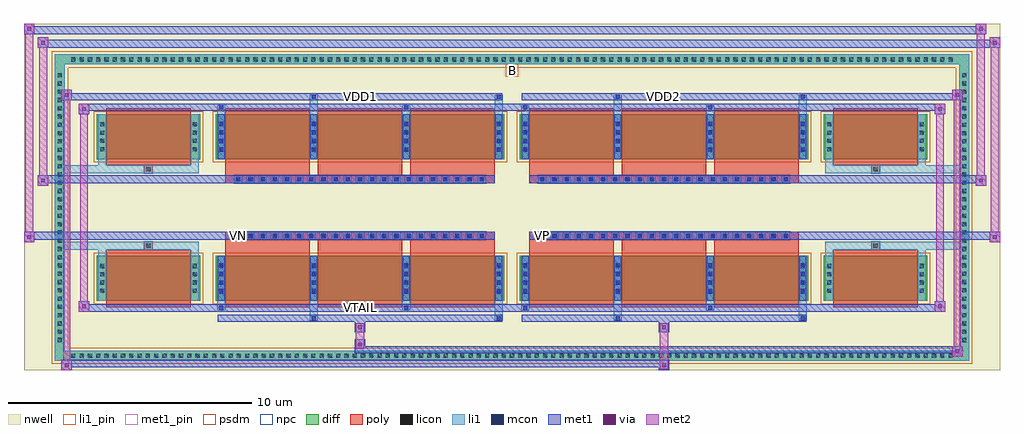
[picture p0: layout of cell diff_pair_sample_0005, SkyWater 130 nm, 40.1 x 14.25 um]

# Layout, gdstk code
import gdstk
lib = gdstk.Library(unit=1e-6, precision=5e-09)
def R(c, l, rs):  # rectangles x0, y0, x1, y1
    for r in rs: c.add(gdstk.rectangle(r[:2], r[2:], *l))
def A(c, l, x, y, w, h, nx, ny, dx, dy):  # array of equal rectangles
    R(c, l, [(x+i*dx, y+j*dy, x+i*dx+w, y+j*dy+h) for i in range(nx) for j in range(ny)])
def P(c, l, *ps):  # polygons
    for p in ps: c.add(gdstk.Polygon(p, *l))
nwell = (64, 20)
diff = (65, 20)
poly = (66, 20)
licon = (66, 44)
li1_pin = (67, 16)
li1 = (67, 20)
mcon = (67, 44)
met1_pin = (68, 16)
met1 = (68, 20)
via = (68, 44)
met2 = (69, 20)
psdm = (94, 20)
npc = (95, 20)

diff_pair_sample_0005 = lib.new_cell('diff_pair_sample_0005')
R(diff_pair_sample_0005, nwell, [(-20.05,-6.69,20.05,7.56), (-17.37,-4.88,-0.01,-0.8), (0.01,-4.88,17.37,-0.8), (-17.37,0.8,-0.01,4.88), (0.01,0.8,17.37,4.88)])
A(diff_pair_sample_0005, diff, -18.225, -6.29, 0.41, 0.41, 107, 2, 0.34, 12.17)
A(diff_pair_sample_0005, diff, -18.78, -5.645, 0.41, 0.41, 1, 33, 0, 0.34)
A(diff_pair_sample_0005, diff, 18.37, -5.645, 0.41, 0.41, 1, 33, 0, 0.34)
R(diff_pair_sample_0005, diff, [(-18.225,-6.29,18.225,-5.88), (-18.78,-5.645,-18.37,5.645), (18.37,-5.645,18.78,5.645), (-17.06,-3.835,-12.81,-1.985), (-12.17,-3.835,-0.32,-1.985), (0.32,-3.835,12.17,-1.985), (12.81,-3.835,17.06,-1.985), (-17.06,1.985,-12.81,3.835), (-12.17,1.985,-0.32,3.835), (0.32,1.985,12.17,3.835), (12.81,1.985,17.06,3.835), (-18.225,5.88,18.225,6.29)])
P(diff_pair_sample_0005, diff, [(18.78,6.29),(-18.78,6.29),(-18.78,-5.88),(-18.37,-5.88),(-18.37,5.88),(18.37,5.88),(18.37,-5.88),(-18.37,-5.88),(-18.78,-5.88),(-18.78,-6.29),(18.78,-6.29)])
A(diff_pair_sample_0005, poly, -11.78, -4.085, 3.47, 2.35, 3, 2, 3.8, 5.82)
A(diff_pair_sample_0005, poly, 0.71, -4.085, 3.47, 2.35, 3, 2, 3.8, 5.82)
A(diff_pair_sample_0005, poly, -11.78, -1.735, 3.47, 0.405, 3, 2, 3.8, 3.065)
A(diff_pair_sample_0005, poly, 0.71, -1.735, 3.47, 0.405, 3, 2, 3.8, 3.065)
A(diff_pair_sample_0005, poly, -11.41, -1.33, 0.33, 0.33, 21, 2, 0.5, 2.33)
A(diff_pair_sample_0005, poly, 1.08, -1.33, 0.33, 0.33, 21, 2, 0.5, 2.33)
R(diff_pair_sample_0005, poly, [(-16.67,-4.085,-13.2,-1.735), (13.2,-4.085,16.67,-1.735), (-15.1,-1.735,-14.77,-1.405), (-15.1,-1.735,-14.77,-1.405), (14.77,-1.735,15.1,-1.405), (14.77,-1.735,15.1,-1.405), (-11.78,-1.33,-0.71,-1), (0.71,-1.33,11.78,-1), (-11.78,1,-0.71,1.33), (0.71,1,11.78,1.33), (-15.1,1.405,-14.77,1.735), (-15.1,1.405,-14.77,1.735), (14.77,1.405,15.1,1.735), (14.77,1.405,15.1,1.735), (-16.67,1.735,-13.2,4.085), (13.2,1.735,16.67,4.085)])
A(diff_pair_sample_0005, licon, -18.105, -6.17, 0.17, 0.17, 107, 2, 0.34, 12.17)
A(diff_pair_sample_0005, licon, -18.66, -5.525, 0.17, 0.17, 1, 33, 0, 0.34)
A(diff_pair_sample_0005, licon, 18.49, -5.525, 0.17, 0.17, 1, 33, 0, 0.34)
A(diff_pair_sample_0005, licon, -16.92, -3.505, 0.17, 0.17, 1, 4, 0, 0.34)
A(diff_pair_sample_0005, licon, -13.12, -3.505, 0.17, 0.17, 1, 4, 0, 0.34)
A(diff_pair_sample_0005, licon, -12.03, -3.505, 0.17, 0.17, 4, 4, 3.8, 0.34)
A(diff_pair_sample_0005, licon, 0.46, -3.505, 0.17, 0.17, 4, 4, 3.8, 0.34)
A(diff_pair_sample_0005, licon, 12.95, -3.505, 0.17, 0.17, 1, 4, 0, 0.34)
A(diff_pair_sample_0005, licon, 16.75, -3.505, 0.17, 0.17, 1, 4, 0, 0.34)
A(diff_pair_sample_0005, licon, -11.33, -1.25, 0.17, 0.17, 21, 2, 0.5, 2.33)
A(diff_pair_sample_0005, licon, 1.16, -1.25, 0.17, 0.17, 21, 2, 0.5, 2.33)
A(diff_pair_sample_0005, licon, -16.92, 2.315, 0.17, 0.17, 1, 4, 0, 0.34)
A(diff_pair_sample_0005, licon, -13.12, 2.315, 0.17, 0.17, 1, 4, 0, 0.34)
A(diff_pair_sample_0005, licon, -12.03, 2.315, 0.17, 0.17, 4, 4, 3.8, 0.34)
A(diff_pair_sample_0005, licon, 0.46, 2.315, 0.17, 0.17, 4, 4, 3.8, 0.34)
A(diff_pair_sample_0005, licon, 12.95, 2.315, 0.17, 0.17, 1, 4, 0, 0.34)
A(diff_pair_sample_0005, licon, 16.75, 2.315, 0.17, 0.17, 1, 4, 0, 0.34)
R(diff_pair_sample_0005, licon, [(-15.02,-1.655,-14.85,-1.485), (14.85,-1.655,15.02,-1.485), (-15.02,1.485,-14.85,1.655), (14.85,1.485,15.02,1.655)])
R(diff_pair_sample_0005, li1_pin, [(-0.25,5.38,0.25,5.88)])
A(diff_pair_sample_0005, li1, -18.185, -6.25, 0.33, 0.33, 107, 2, 0.34, 12.17)
A(diff_pair_sample_0005, li1, -18.74, -5.605, 0.33, 0.33, 1, 33, 0, 0.34)
A(diff_pair_sample_0005, li1, 18.41, -5.605, 0.33, 0.33, 1, 33, 0, 0.34)
A(diff_pair_sample_0005, li1, -12.11, -3.835, 0.33, 1.85, 4, 2, 3.8, 5.82)
A(diff_pair_sample_0005, li1, 0.38, -3.835, 0.33, 1.85, 4, 2, 3.8, 5.82)
A(diff_pair_sample_0005, li1, -17, -3.585, 0.33, 0.33, 1, 4, 0, 0.34)
A(diff_pair_sample_0005, li1, -13.2, -3.585, 0.33, 0.33, 1, 4, 0, 0.34)
A(diff_pair_sample_0005, li1, -12.11, -3.585, 0.33, 0.33, 4, 4, 3.8, 0.34)
A(diff_pair_sample_0005, li1, 0.38, -3.585, 0.33, 0.33, 4, 4, 3.8, 0.34)
A(diff_pair_sample_0005, li1, 12.87, -3.585, 0.33, 0.33, 1, 4, 0, 0.34)
A(diff_pair_sample_0005, li1, 16.67, -3.585, 0.33, 0.33, 1, 4, 0, 0.34)
A(diff_pair_sample_0005, li1, -12.03, -3.535, 0.17, 0.17, 4, 4, 3.8, 0.36)
A(diff_pair_sample_0005, li1, -12.03, -3.535, 0.17, 1.25, 4, 2, 3.8, 5.82)
A(diff_pair_sample_0005, li1, 0.46, -3.535, 0.17, 0.17, 4, 4, 3.8, 0.36)
A(diff_pair_sample_0005, li1, 0.46, -3.535, 0.17, 1.25, 4, 2, 3.8, 5.82)
A(diff_pair_sample_0005, li1, -11.41, -1.33, 0.33, 0.33, 21, 2, 0.5, 2.33)
A(diff_pair_sample_0005, li1, 1.08, -1.33, 0.33, 0.33, 21, 2, 0.5, 2.33)
A(diff_pair_sample_0005, li1, -17, 2.235, 0.33, 0.33, 1, 4, 0, 0.34)
A(diff_pair_sample_0005, li1, -13.2, 2.235, 0.33, 0.33, 1, 4, 0, 0.34)
A(diff_pair_sample_0005, li1, -12.11, 2.235, 0.33, 0.33, 4, 4, 3.8, 0.34)
A(diff_pair_sample_0005, li1, 0.38, 2.235, 0.33, 0.33, 4, 4, 3.8, 0.34)
A(diff_pair_sample_0005, li1, 12.87, 2.235, 0.33, 0.33, 1, 4, 0, 0.34)
A(diff_pair_sample_0005, li1, 16.67, 2.235, 0.33, 0.33, 1, 4, 0, 0.34)
A(diff_pair_sample_0005, li1, -12.03, 2.285, 0.17, 0.17, 4, 4, 3.8, 0.36)
A(diff_pair_sample_0005, li1, 0.46, 2.285, 0.17, 0.17, 4, 4, 3.8, 0.36)
R(diff_pair_sample_0005, li1, [(-18.78,-6.29,-18.37,-5.88), (-18.78,-6.29,-18.37,-5.88), (-18.37,-6.29,18.37,-5.88), (18.37,-6.29,18.78,-5.88), (18.37,-6.29,18.78,-5.88), (-18.78,-5.88,-18.37,5.88), (18.37,-5.88,18.78,5.88), (-8.31,-4.64,-7.98,-3.835), (-8.23,-4.64,-8.06,-4.47), (-0.71,-4.64,-0.38,-3.835), (-0.63,-4.64,-0.46,-4.47), (4.18,-4.64,4.51,-3.835), (4.26,-4.64,4.43,-4.47), (11.78,-4.64,12.11,-3.835), (11.86,-4.64,12.03,-4.47), (-12.11,-4.21,-11.78,-3.835), (-12.03,-4.21,-11.86,-4.04), (-4.51,-4.21,-4.18,-3.835), (-4.43,-4.21,-4.26,-4.04), (0.38,-4.21,0.71,-3.835), (0.46,-4.21,0.63,-4.04), (7.98,-4.21,8.31,-3.835), (8.06,-4.21,8.23,-4.04), (-17,-3.835,-16.67,-1.985), (-13.2,-3.835,-12.87,-1.985), (12.87,-3.835,13.2,-1.985), (16.67,-3.835,17,-1.985), (-17,-1.985,-16.67,-1.405), (-13.2,-1.985,-12.87,-1.405), (12.87,-1.985,13.2,-1.405), (16.67,-1.985,17,-1.405), (-18.78,-1.735,-15.1,-1.405), (-17,-1.735,-15.1,-1.405), (-15.1,-1.735,-14.77,-1.405), (-14.77,-1.735,-12.87,-1.405), (12.87,-1.735,14.77,-1.405), (14.77,-1.735,15.1,-1.405), (14.77,-1.735,18.78,-1.405), (15.1,-1.735,17,-1.405), (-18.78,1.405,-15.1,1.735), (-17,1.405,-15.1,1.735), (-17,1.405,-16.67,1.985), (-15.1,1.405,-14.77,1.735), (-14.77,1.405,-12.87,1.735), (-13.2,1.405,-12.87,1.985), (12.87,1.405,14.77,1.735), (12.87,1.405,13.2,1.985), (14.77,1.405,15.1,1.735), (14.77,1.405,18.78,1.735), (15.1,1.405,17,1.735), (16.67,1.405,17,1.985), (-17,1.985,-16.67,3.835), (-13.2,1.985,-12.87,3.835), (12.87,1.985,13.2,3.835), (16.67,1.985,17,3.835), (-12.11,3.835,-11.78,4.21), (-8.31,3.835,-7.98,4.64), (-4.51,3.835,-4.18,4.21), (-0.71,3.835,-0.38,4.64), (0.38,3.835,0.71,4.21), (4.18,3.835,4.51,4.64), (7.98,3.835,8.31,4.21), (11.78,3.835,12.11,4.64), (-12.03,4.04,-11.86,4.21), (-4.43,4.04,-4.26,4.21), (0.46,4.04,0.63,4.21), (8.06,4.04,8.23,4.21), (-8.23,4.47,-8.06,4.64), (-0.63,4.47,-0.46,4.64), (4.26,4.47,4.43,4.64), (11.86,4.47,12.03,4.64), (-18.78,5.88,-18.37,6.29), (-18.78,5.88,-18.37,6.29), (-18.37,5.88,18.37,6.29), (18.37,5.88,18.78,6.29), (18.37,5.88,18.78,6.29)])
A(diff_pair_sample_0005, mcon, -12.03, -3.535, 0.17, 0.17, 4, 4, 3.8, 0.36)
A(diff_pair_sample_0005, mcon, 0.46, -3.535, 0.17, 0.17, 4, 4, 3.8, 0.36)
A(diff_pair_sample_0005, mcon, -11.33, -1.25, 0.17, 0.17, 21, 2, 0.5, 2.33)
A(diff_pair_sample_0005, mcon, 1.16, -1.25, 0.17, 0.17, 21, 2, 0.5, 2.33)
A(diff_pair_sample_0005, mcon, -12.03, 2.285, 0.17, 0.17, 4, 4, 3.8, 0.36)
A(diff_pair_sample_0005, mcon, 0.46, 2.285, 0.17, 0.17, 4, 4, 3.8, 0.36)
R(diff_pair_sample_0005, mcon, [(-8.23,-4.64,-8.06,-4.47), (-0.63,-4.64,-0.46,-4.47), (4.26,-4.64,4.43,-4.47), (11.86,-4.64,12.03,-4.47), (-12.03,-4.21,-11.86,-4.04), (-4.43,-4.21,-4.26,-4.04), (0.46,-4.21,0.63,-4.04), (8.06,-4.21,8.23,-4.04), (-12.03,4.04,-11.86,4.21), (-4.43,4.04,-4.26,4.21), (0.46,4.04,0.63,4.21), (8.06,4.04,8.23,4.21), (-8.23,4.47,-8.06,4.64), (-0.63,4.47,-0.46,4.64), (4.26,4.47,4.43,4.64), (11.86,4.47,12.03,4.64)])
R(diff_pair_sample_0005, met1_pin, [(-6.38,-4.25,-6.11,-3.98), (-11.38,-1.29,-11.11,-1.02), (1.11,-1.29,1.38,-1.02), (-6.38,4.43,-6.11,4.7), (6.11,4.43,6.38,4.7)])
A(diff_pair_sample_0005, met1, -12.09, -3.835, 0.29, 1.85, 4, 2, 3.8, 5.82)
A(diff_pair_sample_0005, met1, 0.4, -3.835, 0.29, 1.85, 4, 2, 3.8, 5.82)
A(diff_pair_sample_0005, met1, -12.09, -3.595, 0.29, 0.29, 4, 4, 3.8, 0.36)
A(diff_pair_sample_0005, met1, 0.4, -3.595, 0.29, 0.29, 4, 4, 3.8, 0.36)
A(diff_pair_sample_0005, met1, -11.39, -1.31, 0.29, 0.29, 21, 2, 0.5, 2.33)
A(diff_pair_sample_0005, met1, 1.1, -1.31, 0.29, 0.29, 21, 2, 0.5, 2.33)
A(diff_pair_sample_0005, met1, -12.09, 2.225, 0.29, 0.29, 4, 4, 3.8, 0.36)
A(diff_pair_sample_0005, met1, 0.4, 2.225, 0.29, 0.29, 4, 4, 3.8, 0.36)
R(diff_pair_sample_0005, met1, [(-18.51,-6.69,-18.08,-6.26), (6.03,-6.69,6.46,-6.26), (-18.51,-6.55,6.46,-6.26), (18.08,-6.12,18.51,-5.69), (-6.46,-5.98,18.51,-5.69), (-6.46,-5.84,-6.03,-5.41), (-6.46,-5.13,-6.03,-4.7), (6.03,-5.13,6.46,-4.7), (-12.09,-4.7,-0.4,-4.41), (-8.29,-4.7,-8,-4.41), (-0.69,-4.7,-0.4,-4.41), (0.4,-4.7,12.09,-4.41), (4.2,-4.7,4.49,-4.41), (11.8,-4.7,12.09,-4.41), (-17.8,-4.27,-17.37,-3.84), (-17.8,-4.27,-12.09,-3.98), (-12.09,-4.27,-11.8,-3.98), (-12.09,-4.27,-0.4,-3.98), (-4.49,-4.27,-4.2,-3.98), (-0.4,-4.27,0.4,-3.98), (0.4,-4.27,0.69,-3.98), (0.4,-4.27,12.09,-3.98), (8,-4.27,8.29,-3.98), (12.09,-4.27,17.8,-3.98), (17.37,-4.27,17.8,-3.84), (-20.05,-1.43,-19.62,-1), (19.62,-1.43,20.05,-1), (-20.05,-1.33,-0.71,-1), (-11.78,-1.33,-0.71,-1), (0.71,-1.33,11.78,-1), (0.71,-1.33,20.05,-1), (-19.48,0.9,-19.05,1.33), (19.05,0.9,19.48,1.33), (-19.48,1,-11.78,1.33), (-11.78,1,-0.71,1.33), (0.71,1,11.78,1.33), (11.78,1,19.48,1.33), (-17.8,3.84,-17.37,4.27), (17.37,3.84,17.8,4.27), (-17.8,3.98,-12.09,4.27), (-12.09,3.98,-11.8,4.27), (-12.09,3.98,-0.4,4.27), (-4.49,3.98,-4.2,4.27), (-0.4,3.98,0.4,4.27), (0.4,3.98,0.69,4.27), (0.4,3.98,12.09,4.27), (8,3.98,8.29,4.27), (12.09,3.98,17.8,4.27), (-18.51,4.41,-18.08,4.84), (-18.51,4.41,-12.09,4.7), (-12.09,4.41,-0.4,4.7), (-8.29,4.41,-8,4.7), (-0.69,4.41,-0.4,4.7), (0.4,4.41,12.09,4.7), (4.2,4.41,4.49,4.7), (11.8,4.41,12.09,4.7), (12.09,4.41,18.51,4.7), (18.08,4.41,18.51,4.84), (-19.48,6.56,-19.05,6.99), (-19.48,6.56,-17.37,6.89), (-17.37,6.56,17.37,6.89), (17.37,6.56,20.05,6.89), (19.62,6.56,20.05,6.99), (-20.05,7.13,-19.62,7.56), (-20.05,7.13,-17.37,7.46), (-17.37,7.13,17.37,7.46), (17.37,7.13,19.48,7.46), (19.05,7.13,19.48,7.56)])
R(diff_pair_sample_0005, via, [(-18.37,-6.55,-18.22,-6.4), (6.17,-6.55,6.32,-6.4), (18.22,-5.98,18.37,-5.83), (-6.32,-5.7,-6.17,-5.55), (-6.32,-4.99,-6.17,-4.84), (6.17,-4.99,6.32,-4.84), (-17.66,-4.13,-17.51,-3.98), (17.51,-4.13,17.66,-3.98), (-19.91,-1.29,-19.76,-1.14), (19.76,-1.29,19.91,-1.14), (-19.34,1.04,-19.19,1.19), (19.19,1.04,19.34,1.19), (-17.66,3.98,-17.51,4.13), (17.51,3.98,17.66,4.13), (-18.37,4.55,-18.22,4.7), (18.22,4.55,18.37,4.7), (-19.34,6.7,-19.19,6.85), (19.76,6.7,19.91,6.85), (-19.91,7.27,-19.76,7.42), (19.19,7.27,19.34,7.42)])
R(diff_pair_sample_0005, met2, [(-18.51,-6.69,-18.08,-6.26), (-18.44,-6.69,-18.15,4.84), (-18.15,-6.69,-18.08,-6.26), (-18.46,-6.64,-18.13,-6.31), (6.08,-6.64,6.41,-6.31), (6.08,-6.31,6.41,-5.08), (18.08,-6.12,18.51,-5.69), (18.15,-6.12,18.44,4.84), (18.44,-6.12,18.51,-5.69), (18.13,-6.07,18.46,-5.74), (-6.41,-5.79,-6.08,-5.46), (-6.41,-5.46,-6.08,-5.08), (-6.41,-5.08,-6.08,-4.75), (6.08,-5.08,6.41,-4.75), (-17.8,-4.27,-17.37,-3.84), (-17.73,-4.27,-17.44,4.27), (-17.44,-4.27,-17.37,-3.84), (17.37,-4.27,17.8,-3.84), (17.44,-4.27,17.73,4.27), (17.73,-4.27,17.8,-3.84), (-17.75,-4.22,-17.42,-3.89), (17.42,-4.22,17.75,-3.89), (-20.05,-1.43,-19.62,-1), (-20,-1.43,-19.67,7.56), (-19.67,-1.43,-19.62,-1), (19.62,-1.43,20.05,-1), (19.67,-1.43,20,6.99), (20,-1.43,20.05,-1), (-20,-1.38,-19.67,-1.05), (19.67,-1.38,20,-1.05), (-19.48,0.9,-19.05,1.33), (-19.43,0.9,-19.1,6.99), (-19.1,0.9,-19.05,1.33), (19.05,0.9,19.48,1.33), (19.1,0.9,19.43,7.56), (19.43,0.9,19.48,1.33), (-19.43,0.95,-19.1,1.28), (19.1,0.95,19.43,1.28), (-17.8,3.84,-17.37,4.27), (-17.44,3.84,-17.37,4.27), (17.37,3.84,17.8,4.27), (17.73,3.84,17.8,4.27), (-17.75,3.89,-17.42,4.22), (17.42,3.89,17.75,4.22), (-18.51,4.41,-18.08,4.84), (-18.15,4.41,-18.08,4.84), (18.08,4.41,18.51,4.84), (18.44,4.41,18.51,4.84), (-18.46,4.46,-18.13,4.79), (18.13,4.46,18.46,4.79), (-19.48,6.56,-19.05,6.99), (-19.1,6.56,-19.05,6.99), (19.62,6.56,20.05,6.99), (20,6.56,20.05,6.99), (-19.43,6.61,-19.1,6.94), (19.67,6.61,20,6.94), (-20.05,7.13,-19.62,7.56), (-19.67,7.13,-19.62,7.56), (19.05,7.13,19.48,7.56), (19.43,7.13,19.48,7.56), (-20,7.18,-19.67,7.51), (19.1,7.18,19.43,7.51)])
R(diff_pair_sample_0005, psdm, [(-17.19,-3.965,-12.68,-1.855), (-12.3,-3.965,-0.19,-1.855), (0.19,-3.965,12.3,-1.855), (12.68,-3.965,17.19,-1.855), (-17.19,1.855,-12.68,3.965), (-12.3,1.855,-0.19,3.965), (0.19,1.855,12.3,3.965), (12.68,1.855,17.19,3.965)])
P(diff_pair_sample_0005, psdm, [(18.91,6.42),(-18.91,6.42),(-18.91,-5.75),(-18.24,-5.75),(-18.24,5.75),(18.24,5.75),(18.24,-5.75),(-18.24,-5.75),(-18.91,-5.75),(-18.91,-6.42),(18.91,-6.42)])
A(diff_pair_sample_0005, npc, -11.43, -1.35, 0.37, 0.37, 21, 2, 0.5, 2.33)
A(diff_pair_sample_0005, npc, 1.06, -1.35, 0.37, 0.37, 21, 2, 0.5, 2.33)
R(diff_pair_sample_0005, npc, [(-15.12,-1.755,-14.75,-1.385), (14.75,-1.755,15.12,-1.385), (-11.43,-1.35,-10.56,-0.98), (-11.43,-1.35,-10.56,-0.98), (-10.93,-1.35,-10.06,-0.98), (-10.93,-1.35,-10.06,-0.98), (-10.43,-1.35,-9.56,-0.98), (-10.43,-1.35,-9.56,-0.98), (-9.93,-1.35,-9.06,-0.98), (-9.93,-1.35,-9.06,-0.98), (-9.43,-1.35,-8.56,-0.98), (-9.43,-1.35,-8.56,-0.98), (-8.93,-1.35,-8.06,-0.98), (-8.93,-1.35,-8.06,-0.98), (-8.43,-1.35,-7.56,-0.98), (-8.43,-1.35,-7.56,-0.98), (-7.93,-1.35,-7.06,-0.98), (-7.93,-1.35,-7.06,-0.98), (-7.43,-1.35,-6.56,-0.98), (-7.43,-1.35,-6.56,-0.98), (-6.93,-1.35,-6.06,-0.98), (-6.93,-1.35,-6.06,-0.98), (-6.43,-1.35,-5.56,-0.98), (-6.43,-1.35,-5.56,-0.98), (-5.93,-1.35,-5.06,-0.98), (-5.93,-1.35,-5.06,-0.98), (-5.43,-1.35,-4.56,-0.98), (-5.43,-1.35,-4.56,-0.98), (-4.93,-1.35,-4.06,-0.98), (-4.93,-1.35,-4.06,-0.98), (-4.43,-1.35,-3.56,-0.98), (-4.43,-1.35,-3.56,-0.98), (-3.93,-1.35,-3.06,-0.98), (-3.93,-1.35,-3.06,-0.98), (-3.43,-1.35,-2.56,-0.98), (-3.43,-1.35,-2.56,-0.98), (-2.93,-1.35,-2.06,-0.98), (-2.93,-1.35,-2.06,-0.98), (-2.43,-1.35,-1.56,-0.98), (-2.43,-1.35,-1.56,-0.98), (-1.93,-1.35,-1.06,-0.98), (-1.93,-1.35,-1.06,-0.98), (1.06,-1.35,1.93,-0.98), (1.06,-1.35,1.93,-0.98), (1.56,-1.35,2.43,-0.98), (1.56,-1.35,2.43,-0.98), (2.06,-1.35,2.93,-0.98), (2.06,-1.35,2.93,-0.98), (2.56,-1.35,3.43,-0.98), (2.56,-1.35,3.43,-0.98), (3.06,-1.35,3.93,-0.98), (3.06,-1.35,3.93,-0.98), (3.56,-1.35,4.43,-0.98), (3.56,-1.35,4.43,-0.98), (4.06,-1.35,4.93,-0.98), (4.06,-1.35,4.93,-0.98), (4.56,-1.35,5.43,-0.98), (4.56,-1.35,5.43,-0.98), (5.06,-1.35,5.93,-0.98), (5.06,-1.35,5.93,-0.98), (5.56,-1.35,6.43,-0.98), (5.56,-1.35,6.43,-0.98), (6.06,-1.35,6.93,-0.98), (6.06,-1.35,6.93,-0.98), (6.56,-1.35,7.43,-0.98), (6.56,-1.35,7.43,-0.98), (7.06,-1.35,7.93,-0.98), (7.06,-1.35,7.93,-0.98), (7.56,-1.35,8.43,-0.98), (7.56,-1.35,8.43,-0.98), (8.06,-1.35,8.93,-0.98), (8.06,-1.35,8.93,-0.98), (8.56,-1.35,9.43,-0.98), (8.56,-1.35,9.43,-0.98), (9.06,-1.35,9.93,-0.98), (9.06,-1.35,9.93,-0.98), (9.56,-1.35,10.43,-0.98), (9.56,-1.35,10.43,-0.98), (10.06,-1.35,10.93,-0.98), (10.06,-1.35,10.93,-0.98), (10.56,-1.35,11.43,-0.98), (10.56,-1.35,11.43,-0.98), (-11.43,0.98,-10.56,1.35), (-11.43,0.98,-10.56,1.35), (-10.93,0.98,-10.06,1.35), (-10.93,0.98,-10.06,1.35), (-10.43,0.98,-9.56,1.35), (-10.43,0.98,-9.56,1.35), (-9.93,0.98,-9.06,1.35), (-9.93,0.98,-9.06,1.35), (-9.43,0.98,-8.56,1.35), (-9.43,0.98,-8.56,1.35), (-8.93,0.98,-8.06,1.35), (-8.93,0.98,-8.06,1.35), (-8.43,0.98,-7.56,1.35), (-8.43,0.98,-7.56,1.35), (-7.93,0.98,-7.06,1.35), (-7.93,0.98,-7.06,1.35), (-7.43,0.98,-6.56,1.35), (-7.43,0.98,-6.56,1.35), (-6.93,0.98,-6.06,1.35), (-6.93,0.98,-6.06,1.35), (-6.43,0.98,-5.56,1.35), (-6.43,0.98,-5.56,1.35), (-5.93,0.98,-5.06,1.35), (-5.93,0.98,-5.06,1.35), (-5.43,0.98,-4.56,1.35), (-5.43,0.98,-4.56,1.35), (-4.93,0.98,-4.06,1.35), (-4.93,0.98,-4.06,1.35), (-4.43,0.98,-3.56,1.35), (-4.43,0.98,-3.56,1.35), (-3.93,0.98,-3.06,1.35), (-3.93,0.98,-3.06,1.35), (-3.43,0.98,-2.56,1.35), (-3.43,0.98,-2.56,1.35), (-2.93,0.98,-2.06,1.35), (-2.93,0.98,-2.06,1.35), (-2.43,0.98,-1.56,1.35), (-2.43,0.98,-1.56,1.35), (-1.93,0.98,-1.06,1.35), (-1.93,0.98,-1.06,1.35), (1.06,0.98,1.93,1.35), (1.06,0.98,1.93,1.35), (1.56,0.98,2.43,1.35), (1.56,0.98,2.43,1.35), (2.06,0.98,2.93,1.35), (2.06,0.98,2.93,1.35), (2.56,0.98,3.43,1.35), (2.56,0.98,3.43,1.35), (3.06,0.98,3.93,1.35), (3.06,0.98,3.93,1.35), (3.56,0.98,4.43,1.35), (3.56,0.98,4.43,1.35), (4.06,0.98,4.93,1.35), (4.06,0.98,4.93,1.35), (4.56,0.98,5.43,1.35), (4.56,0.98,5.43,1.35), (5.06,0.98,5.93,1.35), (5.06,0.98,5.93,1.35), (5.56,0.98,6.43,1.35), (5.56,0.98,6.43,1.35), (6.06,0.98,6.93,1.35), (6.06,0.98,6.93,1.35), (6.56,0.98,7.43,1.35), (6.56,0.98,7.43,1.35), (7.06,0.98,7.93,1.35), (7.06,0.98,7.93,1.35), (7.56,0.98,8.43,1.35), (7.56,0.98,8.43,1.35), (8.06,0.98,8.93,1.35), (8.06,0.98,8.93,1.35), (8.56,0.98,9.43,1.35), (8.56,0.98,9.43,1.35), (9.06,0.98,9.93,1.35), (9.06,0.98,9.93,1.35), (9.56,0.98,10.43,1.35), (9.56,0.98,10.43,1.35), (10.06,0.98,10.93,1.35), (10.06,0.98,10.93,1.35), (10.56,0.98,11.43,1.35), (10.56,0.98,11.43,1.35), (-15.12,1.385,-14.75,1.755), (14.75,1.385,15.12,1.755)])
diff_pair_sample_0005.add(gdstk.Label('VTAIL', (-6.245,-4.115), layer=68, texttype=5))
diff_pair_sample_0005.add(gdstk.Label('VN', (-11.245,-1.155), layer=68, texttype=5))
diff_pair_sample_0005.add(gdstk.Label('VP', (1.245,-1.155), layer=68, texttype=5))
diff_pair_sample_0005.add(gdstk.Label('B', (0,5.63), layer=67, texttype=5))
diff_pair_sample_0005.add(gdstk.Label('VDD2', (6.245,4.565), layer=68, texttype=5))
diff_pair_sample_0005.add(gdstk.Label('VDD1', (-6.245,4.565), layer=68, texttype=5))

lib.write_gds('diff_pair_sample_0005.gds')
